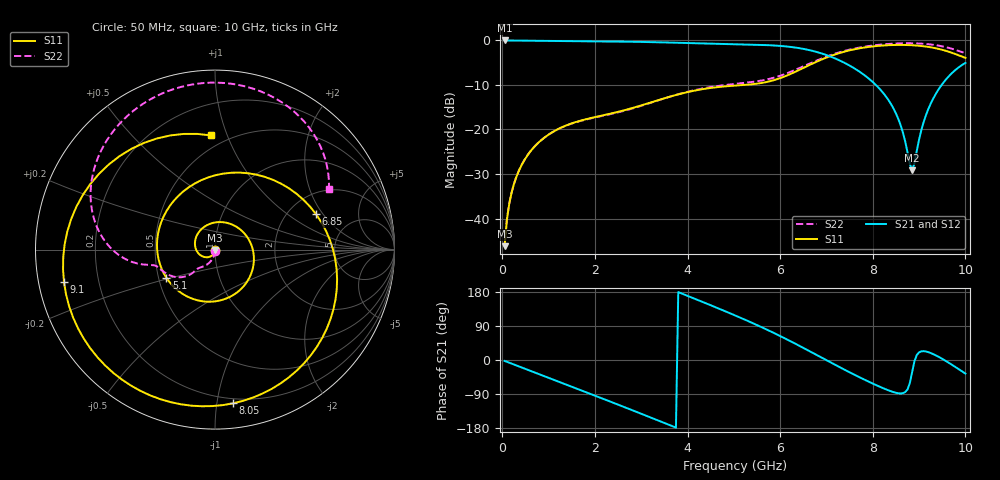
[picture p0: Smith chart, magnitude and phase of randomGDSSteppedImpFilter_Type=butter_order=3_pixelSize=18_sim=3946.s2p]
! freq	dB(S11)	phase(S11)	dB(S12)	phase(S12)
!  dB(S21)	phase(S21)	dB(S22)	phase(S22)
!S-par simulation data
#  GHz  S  DB  R 50
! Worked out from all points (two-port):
!   200 points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, 50 MHz to 10 GHz, reference 50 ohm
!   highest |S21| = 0.00 dB at 50 MHz (marker M1); lowest = -29.2 dB at 8.85 GHz (marker M2)
!   |S21| within 3 dB of the highest: start of sweep to 6.92 GHz
!   lowest |S11| = -46.2 dB at 50 MHz (marker M3), VSWR 1.01, Z = 50 - j0.488 ohm
!   |S11| at or under -10 dB: start of sweep to 5.219 GHz
!   |S22| runs from -46.0 to -0.6 dB; largest |S21 - S12| = 0
!   S11 on the Smith chart (normalised r, x): 50 MHz: 1.00, -0.01; 5.1 GHz: 0.55, -0.19; 6.85 GHz: 2.80, +1.72; 8.05 GHz: 0.17, -1.11; 9.1 GHz: 0.08, -0.11; 10 GHz: 0.41, +0.87
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0.05  -46.21 -92.8  -0.00 -2.4  -0.00 -2.4  -45.97 -87.7
0.2  -34.21 -103.4  -0.02 -9.5  -0.02 -9.5  -34.18 -94.8
0.5  -26.50 -124.4  -0.04 -23.6  -0.04 -23.6  -26.47 -103.7
1.15  -20.21 -170.7  -0.10 -54.0  -0.10 -54.0  -20.22 -119.3
1.75  -17.85 142.5  -0.16 -82.2  -0.16 -82.2  -17.91 -128.9
2.5  -16.04 76.1  -0.25 -117.8  -0.25 -117.8  -16.16 -133.0
3.4  -13.31 -6.0  -0.42 -161.3  -0.42 -161.3  -13.34 -136.8
4.2  -11.17 -72.6  -0.64 159.5  -0.64 159.5  -11.05 -148.0
5.05  -10.13 -145.3  -0.85 116.4  -0.85 116.4  -9.74 -161.2
5.1  -10.09 -150.0  -0.86 113.8  -0.86 113.8  -9.69 -161.8
5.85  -8.97 130.2  -1.12 72.2  -1.12 72.2  -8.41 -167.1
6.3  -7.17 78.0  -1.56 44.8  -1.56 44.8  -6.73 -171.1
6.7  -5.19 34.5  -2.35 19.0  -2.35 19.0  -4.90 -179.7
6.85  -4.49 19.4  -2.77 9.2  -2.77 9.2  -4.24 175.7
7.4  -2.48 -31.1  -5.08 -26.2  -5.08 -26.2  -2.31 154.7
8.05  -1.29 -83.3  -9.82 -65.0  -9.82 -65.0  -1.07 125.6
8.35  -1.06 -106.2  -13.57 -80.6  -13.57 -80.6  -0.78 111.4
8.6  -1.00 -125.6  -19.00 -88.2  -19.00 -88.2  -0.65 99.3
8.85  -1.08 -145.9  -29.20 -32.0  -29.20 -32.0  -0.63 86.7
9.1  -1.30 -167.8  -18.28 23.3  -18.28 23.3  -0.75 73.7
9.5  -2.10 152.3  -9.82 3.1  -9.82 3.1  -1.32 52.3
10  -3.92 92.2  -5.05 -35.8  -5.05 -35.8  -2.88 27.8
